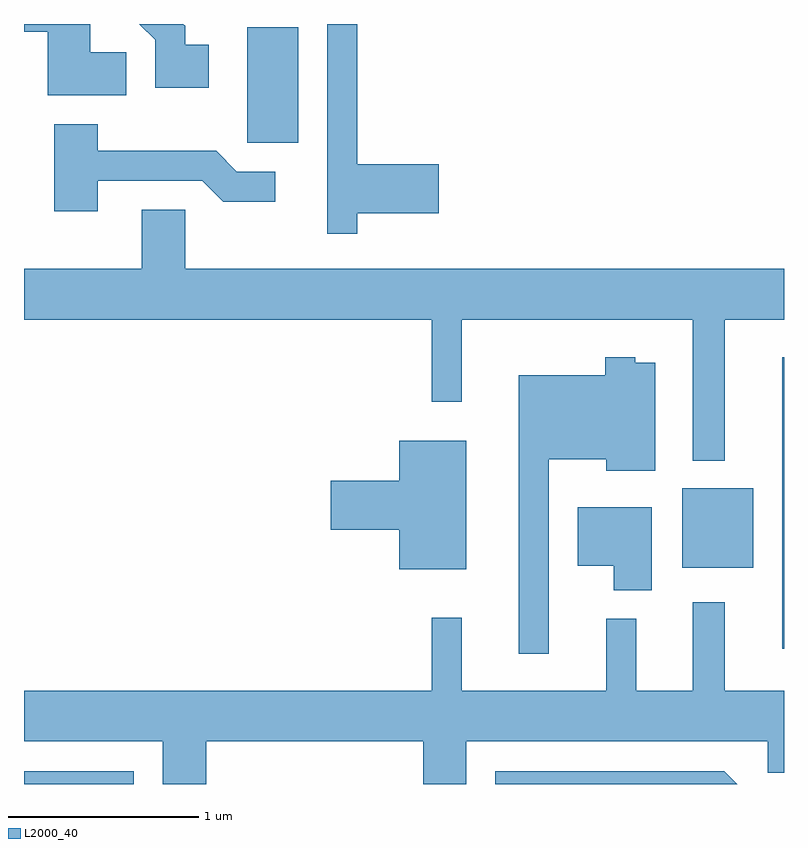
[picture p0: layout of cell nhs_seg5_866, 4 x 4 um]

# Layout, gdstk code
import gdstk
lib = gdstk.Library(unit=1e-6, precision=1e-09)
def R(c, l, rs):  # rectangles x0, y0, x1, y1
    for r in rs: c.add(gdstk.rectangle(r[:2], r[2:], *l))
def P(c, l, *ps):  # polygons
    for p in ps: c.add(gdstk.Polygon(p, *l))
L2000_40 = (2000, 40)

nhs_seg5_866 = lib.new_cell('nhs_seg5_866')
R(nhs_seg5_866, L2000_40, [(209.611,1512.072,210.189,1512.139), (213.601,1512.783,213.611,1514.319), (213.076,1513.211,213.449,1513.629), (210.786,1515.446,211.054,1516.054)])
P(nhs_seg5_866, L2000_40, [(210.584,1515.964),(210.459,1515.964),(210.459,1516.062),(210.449,1516.072),(210.218,1516.072),(210.301,1515.989),(210.301,1515.736),(210.584,1515.736)],
  [(211.364,1515.076),(211.794,1515.076),(211.794,1515.334),(211.364,1515.334),(211.364,1516.072),(211.206,1516.072),(211.206,1514.968),(211.364,1514.968)],
  [(210.149,1515.924),(209.959,1515.924),(209.959,1516.072),(209.611,1516.072),(209.611,1516.031),(209.736,1516.031),(209.736,1515.696),(210.149,1515.696)],
  [(209.999,1515.246),(210.549,1515.246),(210.659,1515.136),(210.933,1515.136),(210.933,1515.294),(210.732,1515.294),(210.622,1515.404),(209.999,1515.404),(209.999,1515.544),(209.771,1515.544),(209.771,1515.086),(209.999,1515.086)],
  [(213.299,1514.516),(213.611,1514.516),(213.611,1514.784),(210.459,1514.784),(210.459,1515.094),(210.231,1515.094),(210.231,1514.784),(209.611,1514.784),(209.611,1514.516),(211.756,1514.516),(211.756,1514.083),(211.914,1514.083),(211.914,1514.516),(213.131,1514.516),(213.131,1513.773),(213.299,1513.773)],
  [(212.374,1513.781),(212.676,1513.781),(212.676,1513.721),(212.934,1513.721),(212.934,1514.289),(212.829,1514.289),(212.829,1514.319),(212.671,1514.319),(212.671,1514.224),(212.216,1514.224),(212.216,1512.758),(212.374,1512.758)],
  [(211.939,1513.879),(211.586,1513.879),(211.586,1513.669),(211.226,1513.669),(211.226,1513.411),(211.586,1513.411),(211.586,1513.201),(211.939,1513.201)],
  [(212.914,1513.529),(212.526,1513.529),(212.526,1513.221),(212.716,1513.221),(212.716,1513.091),(212.914,1513.091)],
  [(211.939,1512.296),(213.526,1512.296),(213.526,1512.131),(213.611,1512.131),(213.611,1512.564),(213.299,1512.564),(213.299,1513.028),(213.131,1513.028),(213.131,1512.564),(212.834,1512.564),(212.834,1512.943),(212.676,1512.943),(212.676,1512.564),(211.914,1512.564),(211.914,1512.948),(211.756,1512.948),(211.756,1512.564),(209.611,1512.564),(209.611,1512.296),(210.341,1512.296),(210.341,1512.072),(210.569,1512.072),(210.569,1512.296),(211.711,1512.296),(211.711,1512.072),(211.939,1512.072)],
  [(213.297,1512.139),(212.091,1512.139),(212.091,1512.072),(213.364,1512.072)])

lib.write_gds('nhs_seg5_866.gds')
